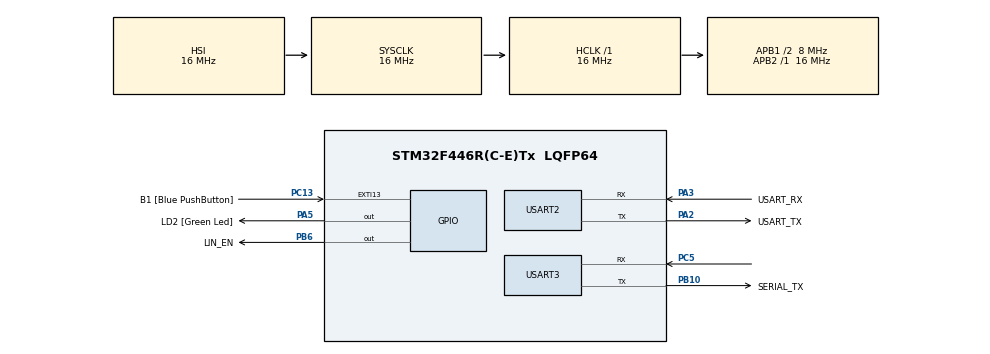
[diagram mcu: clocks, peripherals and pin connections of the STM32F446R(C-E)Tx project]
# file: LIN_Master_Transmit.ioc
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Mcu.Family=STM32F4
Mcu.Name=STM32F446R(C-E)Tx
Mcu.Package=LQFP64
NVIC.PriorityGroup=NVIC_PRIORITYGROUP_0
PA13.GPIO_Label=TMS
PA13.Signal=SYS_JTMS-SWDIO
PA14.GPIO_Label=TCK
PA14.Signal=SYS_JTCK-SWCLK
PA2.GPIO_Label=USART_TX
PA2.Mode=LIN
PA2.Signal=USART2_TX
PA3.GPIO_Label=USART_RX
PA3.Mode=LIN
PA3.Signal=USART2_RX
PA5.GPIO_Label=LD2 [Green Led]
PA5.Signal=GPIO_Output
PB10.GPIO_Label=SERIAL_TX
PB10.Mode=Asynchronous
PB10.Signal=USART3_TX
PB3.GPIO_Label=SWO
PB3.Signal=SYS_JTDO-SWO
PB6.GPIO_Label=LIN_EN
PB6.Signal=GPIO_Output
PC13.GPIO_Label=B1 [Blue PushButton]
PC13.GPIO_ModeDefaultEXTI=GPIO_MODE_IT_FALLING
PC13.Signal=GPXTI13
PC14-OSC32_IN.Signal=RCC_OSC32_IN
PC15-OSC32_OUT.Signal=RCC_OSC32_OUT
PC5.Mode=Asynchronous
PC5.Signal=USART3_RX
PH0-OSC_IN.Signal=RCC_OSC_IN
PH1-OSC_OUT.Signal=RCC_OSC_OUT
ProjectManager.HeapSize=0x200
ProjectManager.StackSize=0x400
ProjectManager.TargetToolchain=STM32CubeIDE
RCC.AHBFreq_Value=16000000
RCC.APB1CLKDivider=RCC_HCLK_DIV2
RCC.APB1Freq_Value=8000000
RCC.APB1TimFreq_Value=16000000
RCC.APB2Freq_Value=16000000
RCC.APB2TimFreq_Value=16000000
RCC.CortexFreq_Value=16000000
RCC.FLatency-AdvancedSettings=FLASH_LATENCY_0
RCC.HCLKFreq_Value=16000000
RCC.HSE_VALUE=8000000
RCC.HSI_VALUE=16000000
RCC.LSE_VALUE=32768
RCC.PLLN=336
RCC.PLLP=RCC_PLLP_DIV4
RCC.SYSCLKFreq_VALUE=16000000
RCC.USBFreq_Value=168000000
RCC.VCOOutputFreq_Value=336000000
USART2.VirtualMode=VM_ASYNC
USART3.VirtualMode=VM_ASYNC
board=NUCLEO-F446RE

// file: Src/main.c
/* USER CODE BEGIN Header */
/**
  ******************************************************************************
  * @file           : main.c
  * @brief          : Main program body
  ******************************************************************************
  * @attention
  *
  * Copyright (c) 2026 STMicroelectronics.
  * All rights reserved.
  *
  * This software is licensed under terms that can be found in the LICENSE file
  * in the root directory of this software component.
  * If no LICENSE file comes with this software, it is provided AS-IS.
  *
  ******************************************************************************
  DEBUG PRINTS: PB10 (TX) -> RX (USB to UART)
  Arduino Header Pin: D6
  Baudrate: 115200
  */
/* USER CODE END Header */
#include "main.h"

/* USER CODE BEGIN Includes */
#include "lin_board.h"
#include "inx_uart_printf_stm32.h"
/* USER CODE END Includes */

/* USER CODE BEGIN PM */

#define TX_LENGTH 8U
#define MSG_COMMAND_ID 0x17U

/* USER CODE END PM */

UART_HandleTypeDef huart2;
UART_HandleTypeDef huart3;

void SystemClock_Config(void);
static void MX_GPIO_Init(void);
static void MX_USART2_UART_Init(void);
static void MX_USART3_UART_Init(void);

/* USER CODE BEGIN 0 */
static inx_lin_board_dev_t *lin_handle;

static uint8_t tx_data[TX_LENGTH] = {0x01, 0x02, 0x03, 0x04, 0x05, 0x06, 0x07, 0x08};
static uint8_t id = MSG_COMMAND_ID;
/* USER CODE END 0 */

int main(void)
{

  /* MCU Configuration--------------------------------------------------------*/

  /* Reset of all peripherals, Initializes the Flash interface and the Systick. */
  HAL_Init();

  /* Configure the system clock */
  SystemClock_Config();

  /* Initialize all configured peripherals */
  MX_GPIO_Init();
  MX_USART2_UART_Init();
  MX_USART3_UART_Init();
  /* USER CODE BEGIN 2 */

  inx_uart_printf_init(&huart3);

  inx_lin_board_hw_desc_t lin_hw = {
      .uart_handle = &huart2
  };

  inx_lin_board_config_t cfg = {
      .lin_baudrate = 10000U,
      .break_width = 11U,
      .flags = INX_LIN_BOARD_MASTER,
  };

  lin_handle = inx_lin_board_open(&lin_hw);

  if(inx_lin_board_config(lin_handle, &cfg) != INX_LIN_BOARD_STATUS_OK)
     return -1;

  HAL_GPIO_WritePin(LIN_EN_GPIO_Port, LIN_EN_Pin, GPIO_PIN_SET);

  printf("LIN Master Start\r\n");

  if(inx_lin_board_start(lin_handle) != INX_LIN_BOARD_STATUS_OK)
      return -1;

  printf("Tx 0x%x {", id);
  if(inx_lin_board_write_message(lin_handle, id, tx_data, TX_LENGTH, 0xFFFFFF) == INX_LIN_BOARD_STATUS_OK) {
    for (uint8_t i = 0; i < TX_LENGTH; i++) {
	  printf(" 0x%x",tx_data[i]);
	}
	printf(" }");
  }
  printf(" br: %lu\r\n", cfg.lin_baudrate);
  /* USER CODE END 2 */

  /* Infinite loop */
  while (1)
  {

  }
}

void SystemClock_Config(void)
{
  RCC_OscInitTypeDef RCC_OscInitStruct = {0};
  RCC_ClkInitTypeDef RCC_ClkInitStruct = {0};

  /** Configure the main internal regulator output voltage
  */
  __HAL_RCC_PWR_CLK_ENABLE();
  __HAL_PWR_VOLTAGESCALING_CONFIG(PWR_REGULATOR_VOLTAGE_SCALE3);

  /** Initializes the RCC Oscillators according to the specified parameters
  * in the RCC_OscInitTypeDef structure.
  */
  RCC_OscInitStruct.OscillatorType = RCC_OSCILLATORTYPE_HSI;
  RCC_OscInitStruct.HSIState = RCC_HSI_ON;
  RCC_OscInitStruct.HSICalibrationValue = RCC_HSICALIBRATION_DEFAULT;
  RCC_OscInitStruct.PLL.PLLState = RCC_PLL_NONE;
  if (HAL_RCC_OscConfig(&RCC_OscInitStruct) != HAL_OK)
  {
    Error_Handler();
  }

  /** Initializes the CPU, AHB and APB buses clocks
  */
  RCC_ClkInitStruct.ClockType = RCC_CLOCKTYPE_HCLK|RCC_CLOCKTYPE_SYSCLK
                              |RCC_CLOCKTYPE_PCLK1|RCC_CLOCKTYPE_PCLK2;
  RCC_ClkInitStruct.SYSCLKSource = RCC_SYSCLKSOURCE_HSI;
  RCC_ClkInitStruct.AHBCLKDivider = RCC_SYSCLK_DIV1;
  RCC_ClkInitStruct.APB1CLKDivider = RCC_HCLK_DIV2;
  RCC_ClkInitStruct.APB2CLKDivider = RCC_HCLK_DIV1;

  if (HAL_RCC_ClockConfig(&RCC_ClkInitStruct, FLASH_LATENCY_0) != HAL_OK)
  {
    Error_Handler();
  }
}

static void MX_USART2_UART_Init(void)
{

  huart2.Instance = USART2;
  huart2.Init.BaudRate = 115200;
  huart2.Init.WordLength = UART_WORDLENGTH_8B;
  huart2.Init.StopBits = UART_STOPBITS_1;
  huart2.Init.Parity = UART_PARITY_NONE;
  huart2.Init.Mode = UART_MODE_TX_RX;
  huart2.Init.HwFlowCtl = UART_HWCONTROL_NONE;
  huart2.Init.OverSampling = UART_OVERSAMPLING_16;
  if (HAL_LIN_Init(&huart2, UART_LINBREAKDETECTLENGTH_10B) != HAL_OK)
  {
    Error_Handler();
  }

}

static void MX_USART3_UART_Init(void)
{

  huart3.Instance = USART3;
  huart3.Init.BaudRate = 115200;
  huart3.Init.WordLength = UART_WORDLENGTH_8B;
  huart3.Init.StopBits = UART_STOPBITS_1;
  huart3.Init.Parity = UART_PARITY_NONE;
  huart3.Init.Mode = UART_MODE_TX_RX;
  huart3.Init.HwFlowCtl = UART_HWCONTROL_NONE;
  huart3.Init.OverSampling = UART_OVERSAMPLING_16;
  if (HAL_UART_Init(&huart3) != HAL_OK)
  {
    Error_Handler();
  }

}

static void MX_GPIO_Init(void)
{
  GPIO_InitTypeDef GPIO_InitStruct = {0};

  /* GPIO Ports Clock Enable */
  __HAL_RCC_GPIOC_CLK_ENABLE();
  __HAL_RCC_GPIOH_CLK_ENABLE();
  __HAL_RCC_GPIOA_CLK_ENABLE();
  __HAL_RCC_GPIOB_CLK_ENABLE();

  /*Configure GPIO pin Output Level */
  HAL_GPIO_WritePin(LD2_GPIO_Port, LD2_Pin, GPIO_PIN_RESET);

  /*Configure GPIO pin Output Level */
  HAL_GPIO_WritePin(LIN_EN_GPIO_Port, LIN_EN_Pin, GPIO_PIN_RESET);

  /*Configure GPIO pin : B1_Pin */
  GPIO_InitStruct.Pin = B1_Pin;
  GPIO_InitStruct.Mode = GPIO_MODE_IT_FALLING;
  GPIO_InitStruct.Pull = GPIO_NOPULL;
  HAL_GPIO_Init(B1_GPIO_Port, &GPIO_InitStruct);

  /*Configure GPIO pin : LD2_Pin */
  GPIO_InitStruct.Pin = LD2_Pin;
  GPIO_InitStruct.Mode = GPIO_MODE_OUTPUT_PP;
  GPIO_InitStruct.Pull = GPIO_NOPULL;
  GPIO_InitStruct.Speed = GPIO_SPEED_FREQ_LOW;
  HAL_GPIO_Init(LD2_GPIO_Port, &GPIO_InitStruct);

  /*Configure GPIO pin : LIN_EN_Pin */
  GPIO_InitStruct.Pin = LIN_EN_Pin;
  GPIO_InitStruct.Mode = GPIO_MODE_OUTPUT_PP;
  GPIO_InitStruct.Pull = GPIO_NOPULL;
  GPIO_InitStruct.Speed = GPIO_SPEED_FREQ_LOW;
  HAL_GPIO_Init(LIN_EN_GPIO_Port, &GPIO_InitStruct);

}

void Error_Handler(void)
{
  __disable_irq();
  while (1)
  {
  }
}
